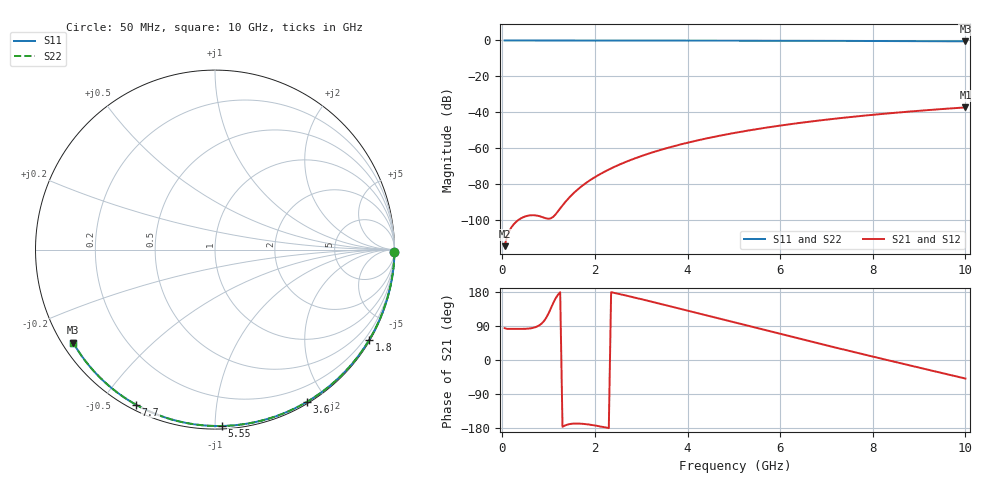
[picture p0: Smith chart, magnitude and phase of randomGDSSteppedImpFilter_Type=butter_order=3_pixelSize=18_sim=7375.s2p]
! freq	dB(S11)	phase(S11)	dB(S12)	phase(S12)
!  dB(S21)	phase(S21)	dB(S22)	phase(S22)
!S-par simulation data
#  GHz  S  DB  R 50
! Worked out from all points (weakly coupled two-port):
!   200 points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, 50 MHz to 10 GHz, reference 50 ohm
!   highest |S21| = -37.25 dB at 10 GHz (marker M1); lowest = -114.5 dB at 50 MHz (marker M2)
!   lowest |S11| = -0.5 dB at 10 GHz (marker M3), VSWR 35.30, Z = 1.54 - j14.9 ohm
!   |S11| at or under -10 dB: nowhere
!   |S22| runs from -0.5 to 0.0 dB; largest |S21 - S12| = 0
!   S11 on the Smith chart (normalised r, x): 50 MHz: open; 1.8 GHz: 0.03, -3.70; 3.6 GHz: 0.02, -1.77; 5.55 GHz: 0.02, -1.04; 7.7 GHz: 0.02, -0.61; 10 GHz: 0.03, -0.30
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0.05  -0.00 -0.9  -114.46 84.0  -114.46 84.0  -0.00 -0.9
0.45  -0.01 -7.7  -98.37 82.0  -98.37 82.0  -0.01 -7.7
0.9  -0.02 -15.3  -98.60 102.8  -98.60 102.8  -0.02 -15.3
1.3  -0.03 -22.0  -91.79 -176.4  -91.79 -176.4  -0.03 -22.0
1.75  -0.04 -29.4  -80.39 -168.6  -80.39 -168.6  -0.04 -29.4
1.8  -0.04 -30.3  -79.44 -169.2  -79.44 -169.2  -0.04 -30.3
1.95  -0.04 -32.7  -76.84 -171.8  -76.84 -171.8  -0.04 -32.7
2.1  -0.04 -35.2  -74.54 -174.9  -74.54 -174.9  -0.04 -35.2
2.3  -0.05 -38.4  -71.81 -179.8  -71.81 -179.8  -0.05 -38.4
2.5  -0.05 -41.6  -69.40 174.9  -69.40 174.9  -0.05 -41.6
2.9  -0.06 -48.0  -65.27 163.5  -65.27 163.5  -0.06 -48.0
3.4  -0.07 -55.9  -61.03 148.6  -61.03 148.6  -0.07 -55.9
3.6  -0.08 -59.0  -59.56 142.5  -59.56 142.5  -0.08 -59.0
4.3  -0.10 -69.6  -55.12 121.0  -55.12 121.0  -0.10 -69.6
5.05  -0.12 -80.6  -51.28 97.9  -51.28 97.9  -0.12 -80.6
5.55  -0.14 -87.8  -49.11 82.5  -49.11 82.5  -0.14 -87.8
6.1  -0.17 -95.5  -47.00 65.8  -47.00 65.8  -0.17 -95.5
6.7  -0.20 -103.7  -44.98 47.6  -44.98 47.6  -0.20 -103.7
7.7  -0.27 -117.0  -42.12 17.8  -42.12 17.8  -0.27 -117.0
8.35  -0.32 -125.5  -40.54 -1.2  -40.54 -1.2  -0.32 -125.5
9.2  -0.40 -136.4  -38.72 -25.9  -38.72 -25.9  -0.40 -136.4
10  -0.49 -146.8  -37.25 -48.9  -37.25 -48.9  -0.49 -146.8
